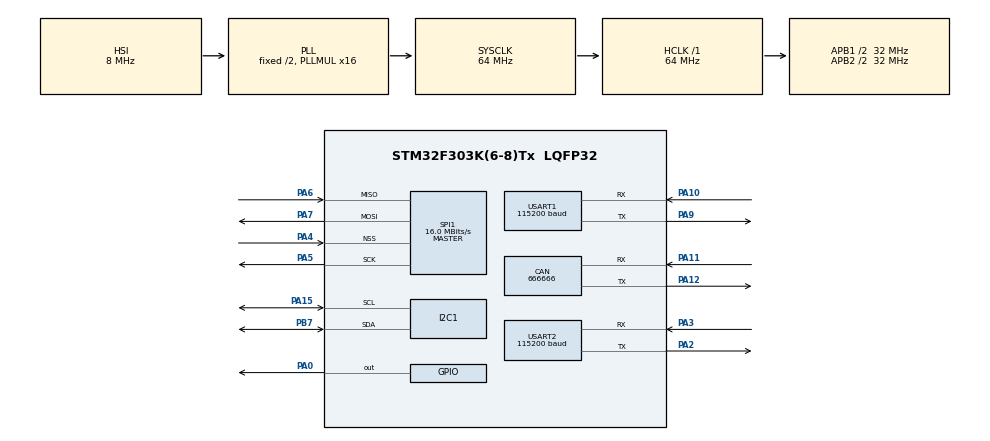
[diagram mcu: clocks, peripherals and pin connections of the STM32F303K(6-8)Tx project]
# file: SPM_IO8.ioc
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CAN.CalculateBaudRate=666666
CAN.CalculateTimeBit=1500
CAN.CalculateTimeQuantum=500.0
I2C1.Timing=0x00201D2B
Mcu.Family=STM32F3
Mcu.Name=STM32F303K(6-8)Tx
Mcu.Package=LQFP32
NVIC.PriorityGroup=NVIC_PRIORITYGROUP_4
NVIC.USART1_IRQn=true\:15\:0\:true\:false\:true\:true\:true\:true
NVIC.USART2_IRQn=true\:15\:0\:true\:false\:true\:true\:true\:true
PA0.Signal=GPIO_Output
PA10.Mode=Asynchronous
PA10.Signal=USART1_RX
PA11.Mode=CAN_Activate
PA11.Signal=CAN_RX
PA12.Mode=CAN_Activate
PA12.Signal=CAN_TX
PA13.Mode=Trace_Asynchronous_SW
PA13.Signal=SYS_JTMS-SWDIO
PA14.Mode=Trace_Asynchronous_SW
PA14.Signal=SYS_JTCK-SWCLK
PA15.Mode=I2C
PA15.Signal=I2C1_SCL
PA2.Mode=Asynchronous
PA2.Signal=USART2_TX
PA3.Mode=Asynchronous
PA3.Signal=USART2_RX
PA4.Mode=NSS_Signal_Hard_Input
PA4.Signal=SPI1_NSS
PA5.Mode=Full_Duplex_Master
PA5.Signal=SPI1_SCK
PA6.Mode=Full_Duplex_Master
PA6.Signal=SPI1_MISO
PA7.Mode=Full_Duplex_Master
PA7.Signal=SPI1_MOSI
PA9.Mode=Asynchronous
PA9.Signal=USART1_TX
PB3.Mode=Trace_Asynchronous_SW
PB3.Signal=SYS_JTDO-TRACESWO
PB7.Mode=I2C
PB7.Signal=I2C1_SDA
ProjectManager.HeapSize=0x200
ProjectManager.StackSize=0x400
ProjectManager.TargetToolchain=STM32CubeIDE
RCC.AHBFreq_Value=64000000
RCC.APB1CLKDivider=RCC_HCLK_DIV2
RCC.APB1Freq_Value=32000000
RCC.APB1TimFreq_Value=64000000
RCC.APB2CLKDivider=RCC_HCLK_DIV2
RCC.APB2Freq_Value=32000000
RCC.APB2TimFreq_Value=64000000
RCC.CortexFreq_Value=64000000
RCC.HCLKFreq_Value=64000000
RCC.HSE_VALUE=8000000
RCC.HSI_VALUE=8000000
RCC.PLLMUL=RCC_PLL_MUL16
RCC.SYSCLKFreq_VALUE=64000000
RCC.SYSCLKSourceVirtual=RCC_SYSCLKSOURCE_PLLCLK
SPI1.CalculateBaudRate=16.0 MBits/s
SPI1.Direction=SPI_DIRECTION_2LINES
SPI1.Mode=SPI_MODE_MASTER
SPI1.VirtualNSS=VM_NSSHARD
SPI1.VirtualType=VM_MASTER
USART1.BaudRate=115200
USART1.VirtualMode-Asynchronous=VM_ASYNC
USART2.BaudRate=115200
USART2.VirtualMode-Asynchronous=VM_ASYNC
board=custom

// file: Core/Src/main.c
/* USER CODE BEGIN Header */
/**
  ******************************************************************************
  * @file           : main.c
  * @brief          : Main program body
  ******************************************************************************
  * @attention
  *
  * Copyright (c) 2025 STMicroelectronics.
  * All rights reserved.
  *
  * This software is licensed under terms that can be found in the LICENSE file
  * in the root directory of this software component.
  * If no LICENSE file comes with this software, it is provided AS-IS.
  *
  ******************************************************************************
  */
/* USER CODE END Header */
#include "main.h"

/* USER CODE BEGIN Includes */
#include "stdio.h"
#include "mcp23017.h"
#include <SPM_Modbus.h>
/* USER CODE END Includes */

CAN_HandleTypeDef hcan;

I2C_HandleTypeDef hi2c1;

SPI_HandleTypeDef hspi1;

UART_HandleTypeDef huart1;
UART_HandleTypeDef huart2;

/* USER CODE BEGIN PV */
//デバイス定義
int16_t model_no = 50;
int16_t version = 1;
int16_t sub_version = 0;

//シリアルデータ
uint8_t recv_data;
uint8_t rx_buf[50];
int rx_len=0;

//CANデータ
uint32_t can_id;
uint32_t can_dlc;
uint8_t can_data[8];

//アプリケーション変数
int16_t dev_id=1;
int16_t io_mode=0; //0通常動作　1:セーフティ動作
//通常動作時の入出力
int16_t io_in=0;
int16_t io_out=0;
//セーフティモード時の入出力
int16_t io_in_fillter = 0xff;	//入力のフィルター ビットが1のもののみセーフティが有効
int16_t io_norm_in=0x00;		//正常時の入力状態。これと異なる場合に異常と判定
int16_t io_norm_out=0x00;		//正常時の出力
int16_t io_anom_out=0xff;		//異常時の出力
int16_t io_state=0;				//0正常　1:異常
/* USER CODE END PV */

void SystemClock_Config(void);
static void MX_GPIO_Init(void);
static void MX_CAN_Init(void);
static void MX_I2C1_Init(void);
static void MX_SPI1_Init(void);
static void MX_USART1_UART_Init(void);
static void MX_USART2_UART_Init(void);

int main(void)
{

  /* MCU Configuration--------------------------------------------------------*/

  /* Reset of all peripherals, Initializes the Flash interface and the Systick. */
  HAL_Init();

  /* Configure the system clock */
  SystemClock_Config();

  /* Initialize all configured peripherals */
  MX_GPIO_Init();
  MX_CAN_Init();
  MX_I2C1_Init();
  MX_SPI1_Init();
  MX_USART1_UART_Init();
  MX_USART2_UART_Init();
  /* USER CODE BEGIN 2 */
  //IOexpander intialize
  MCP23017_HandleTypeDef hmcp;
  mcp23017_init(&hmcp, &hi2c1, MCP23017_ADDRESS_20);
  mcp23017_iodir(&hmcp, MCP23017_PORTA, MCP23017_IODIR_ALL_INPUT);
  mcp23017_iodir(&hmcp, MCP23017_PORTB, MCP23017_IODIR_ALL_OUTPUT);

  //CAN initialize
  HAL_CAN_Start(&hcan);
  HAL_CAN_ActivateNotification(&hcan, CAN_IT_RX_FIFO0_MSG_PENDING);
  CAN_FilterTypeDef filter;
  filter.FilterIdHigh         = 0;                        //
  filter.FilterIdLow          = 0;                        //
  filter.FilterMaskIdHigh     = 0;                        //
  filter.FilterMaskIdLow      = 0;                        //
  filter.FilterScale          = CAN_FILTERSCALE_32BIT;    //
  filter.FilterFIFOAssignment = CAN_FILTER_FIFO0;         //
  filter.FilterBank           = 0;                        //
  filter.FilterMode           = CAN_FILTERMODE_IDMASK;    //
  filter.SlaveStartFilterBank = 14;                       //
  filter.FilterActivation     = ENABLE;                   //
  HAL_CAN_ConfigFilter(&hcan, &filter);

  //各レジスタ初期化
  SPM_ModbusInit();

  //レジスタ登録
  p_input_regs[0] = &model_no;   //モデルナンバー
  p_input_regs[1] = &version; //バージョン
  p_input_regs[2] = &sub_version; //サブバージョン
  p_input_regs[3] = &io_in; //サブバージョン
  p_input_regs[4] = &io_out; //サブバージョン
  p_input_regs[5] = &io_mode;
  p_input_regs[6] = &io_in_fillter;
  p_input_regs[7] = &io_norm_in;
  p_input_regs[8] = &io_norm_out;
  p_input_regs[9] = &io_anom_out;
  p_input_regs[10] = &io_state;

  p_holding_regs[0] = &dev_id;
  p_holding_regs[1] = &io_in;
  p_holding_regs[2] = &io_out;
  p_holding_regs[3] = &io_mode;
  p_holding_regs[4] = &io_in_fillter;
  p_holding_regs[5] = &io_norm_in;
  p_holding_regs[6] = &io_norm_out;
  p_holding_regs[7] = &io_anom_out;
  p_holding_regs[8] = &io_state;

  //Cyclic Function登録
  cycfunc0.rx_len = 2;
  cycfunc0.rx_adr[0] = &io_in;
  cycfunc0.rx_adr[1] = &io_out;
  cycfunc0.tx_len = 1;
  cycfunc0.tx_adr[0] = &io_out;

  ParamLoad();
  io_out=0;
  io_state=0;
  SPM_ModbusSetAddress(dev_id);

  //uart2 interrupt
  HAL_UART_Receive_IT(&huart1, &recv_data, 1);
  /* USER CODE END 2 */

  /* Infinite loop */
  /* USER CODE BEGIN WHILE */
  while (1)
  {
		//IO動作
	  	mcp23017_read_gpio(&hmcp, MCP23017_PORTA);	//入力を読み取り
  	    io_in = hmcp.gpio[MCP23017_PORTA];	//入力を取得
	    if(io_mode == 0){
	    	//通常動作時
	    	hmcp.gpio[MCP23017_PORTB] = (uint8_t)io_out;	//書き込み
	    }else{
	    	//セーフティモード時
	    	uint8_t io_in_fix = io_in & (uint8_t)io_in_fillter;	//入力のフィルタ
	    	if(io_in_fix != io_norm_in) io_state = 1;	//入力を判定
	    	if( io_state == 0){
	    		//正常時の出力
	    		io_out = io_norm_out;
	    	}else{
	    		//異常時の出力
	    		io_out = io_anom_out;
	    	}
	    	hmcp.gpio[MCP23017_PORTB] = (uint8_t)io_out;	//書き込み
	    }
	    mcp23017_write_gpio(&hmcp, MCP23017_PORTB);	//出力の書き込み

		  if(rx_len>0){
			  //HAL_GPIO_WritePin(GPIOA, GPIO_PIN_5, 1);
			  HAL_Delay(10);
			  uint8_t tx_buf[50];
			  int tx_len = SPM_ModbusTask(rx_buf, rx_len, tx_buf);
			  HAL_UART_Transmit(&huart1, tx_buf, tx_len, 100);
			  rx_len=0;
			  //HAL_GPIO_WritePin(GPIOA, GPIO_PIN_5, 0);
		  }

		/*if(timer_1s==0){
			CAN_TxHeaderTypeDef TxHeader;
			uint32_t TxMailbox;
			uint8_t TxData[8];
			if(0 < HAL_CAN_GetTxMailboxesFreeLevel(&hcan)){
				  TxHeader.StdId = 0x555;                 // CAN ID
				  TxHeader.RTR = CAN_RTR_DATA;            //
				  TxHeader.IDE = CAN_ID_STD;              //
				  TxHeader.DLC = 8;                       //
				  TxHeader.TransmitGlobalTime = DISABLE;  //
				  TxData[0] = 'H';
				  TxData[1] = 'E';
				  TxData[2] = 'L';
				  TxData[3] = 'L';
				  TxData[4] = 'O';
				  TxData[5] = '!';
				  TxData[6] = '!';
				  TxData[7] = '!';
				  HAL_CAN_AddTxMessage(&hcan, &TxHeader, TxData, &TxMailbox);
			}

		    int8_t buf[50];
		    int16_t l = sprintf(buf,"PA=%d, PB=%d\r\n",
		    				hmcp.gpio[MCP23017_PORTA],
							hmcp.gpio[MCP23017_PORTB]);
		    HAL_UART_Transmit( &huart1, buf, l, 0xFFFF);
		}*/
		HAL_Delay(1);
    /* USER CODE END WHILE */

  }
}

void SystemClock_Config(void)
{
  RCC_OscInitTypeDef RCC_OscInitStruct = {0};
  RCC_ClkInitTypeDef RCC_ClkInitStruct = {0};
  RCC_PeriphCLKInitTypeDef PeriphClkInit = {0};

  /** Initializes the RCC Oscillators according to the specified parameters
  * in the RCC_OscInitTypeDef structure.
  */
  RCC_OscInitStruct.OscillatorType = RCC_OSCILLATORTYPE_HSI;
  RCC_OscInitStruct.HSIState = RCC_HSI_ON;
  RCC_OscInitStruct.HSICalibrationValue = RCC_HSICALIBRATION_DEFAULT;
  RCC_OscInitStruct.PLL.PLLState = RCC_PLL_ON;
  RCC_OscInitStruct.PLL.PLLSource = RCC_PLLSOURCE_HSI;
  RCC_OscInitStruct.PLL.PLLMUL = RCC_PLL_MUL16;
  if (HAL_RCC_OscConfig(&RCC_OscInitStruct) != HAL_OK)
  {
    Error_Handler();
  }

  /** Initializes the CPU, AHB and APB buses clocks
  */
  RCC_ClkInitStruct.ClockType = RCC_CLOCKTYPE_HCLK|RCC_CLOCKTYPE_SYSCLK
                              |RCC_CLOCKTYPE_PCLK1|RCC_CLOCKTYPE_PCLK2;
  RCC_ClkInitStruct.SYSCLKSource = RCC_SYSCLKSOURCE_PLLCLK;
  RCC_ClkInitStruct.AHBCLKDivider = RCC_SYSCLK_DIV1;
  RCC_ClkInitStruct.APB1CLKDivider = RCC_HCLK_DIV2;
  RCC_ClkInitStruct.APB2CLKDivider = RCC_HCLK_DIV2;

  if (HAL_RCC_ClockConfig(&RCC_ClkInitStruct, FLASH_LATENCY_2) != HAL_OK)
  {
    Error_Handler();
  }
  PeriphClkInit.PeriphClockSelection = RCC_PERIPHCLK_USART1|RCC_PERIPHCLK_I2C1;
  PeriphClkInit.Usart1ClockSelection = RCC_USART1CLKSOURCE_PCLK1;
  PeriphClkInit.I2c1ClockSelection = RCC_I2C1CLKSOURCE_HSI;
  if (HAL_RCCEx_PeriphCLKConfig(&PeriphClkInit) != HAL_OK)
  {
    Error_Handler();
  }
}

static void MX_CAN_Init(void)
{

  hcan.Instance = CAN;
  hcan.Init.Prescaler = 16;
  hcan.Init.Mode = CAN_MODE_NORMAL;
  hcan.Init.SyncJumpWidth = CAN_SJW_1TQ;
  hcan.Init.TimeSeg1 = CAN_BS1_1TQ;
  hcan.Init.TimeSeg2 = CAN_BS2_1TQ;
  hcan.Init.TimeTriggeredMode = DISABLE;
  hcan.Init.AutoBusOff = DISABLE;
  hcan.Init.AutoWakeUp = DISABLE;
  hcan.Init.AutoRetransmission = DISABLE;
  hcan.Init.ReceiveFifoLocked = DISABLE;
  hcan.Init.TransmitFifoPriority = DISABLE;
  if (HAL_CAN_Init(&hcan) != HAL_OK)
  {
    Error_Handler();
  }

}

static void MX_I2C1_Init(void)
{

  hi2c1.Instance = I2C1;
  hi2c1.Init.Timing = 0x00201D2B;
  hi2c1.Init.OwnAddress1 = 0;
  hi2c1.Init.AddressingMode = I2C_ADDRESSINGMODE_7BIT;
  hi2c1.Init.DualAddressMode = I2C_DUALADDRESS_DISABLE;
  hi2c1.Init.OwnAddress2 = 0;
  hi2c1.Init.OwnAddress2Masks = I2C_OA2_NOMASK;
  hi2c1.Init.GeneralCallMode = I2C_GENERALCALL_DISABLE;
  hi2c1.Init.NoStretchMode = I2C_NOSTRETCH_DISABLE;
  if (HAL_I2C_Init(&hi2c1) != HAL_OK)
  {
    Error_Handler();
  }

  /** Configure Analogue filter
  */
  if (HAL_I2CEx_ConfigAnalogFilter(&hi2c1, I2C_ANALOGFILTER_ENABLE) != HAL_OK)
  {
    Error_Handler();
  }

  /** Configure Digital filter
  */
  if (HAL_I2CEx_ConfigDigitalFilter(&hi2c1, 0) != HAL_OK)
  {
    Error_Handler();
  }

}

static void MX_SPI1_Init(void)
{

  /* SPI1 parameter configuration*/
  hspi1.Instance = SPI1;
  hspi1.Init.Mode = SPI_MODE_MASTER;
  hspi1.Init.Direction = SPI_DIRECTION_2LINES;
  hspi1.Init.DataSize = SPI_DATASIZE_4BIT;
  hspi1.Init.CLKPolarity = SPI_POLARITY_LOW;
  hspi1.Init.CLKPhase = SPI_PHASE_1EDGE;
  hspi1.Init.NSS = SPI_NSS_HARD_INPUT;
  hspi1.Init.BaudRatePrescaler = SPI_BAUDRATEPRESCALER_2;
  hspi1.Init.FirstBit = SPI_FIRSTBIT_MSB;
  hspi1.Init.TIMode = SPI_TIMODE_DISABLE;
  hspi1.Init.CRCCalculation = SPI_CRCCALCULATION_DISABLE;
  hspi1.Init.CRCPolynomial = 7;
  hspi1.Init.CRCLength = SPI_CRC_LENGTH_DATASIZE;
  hspi1.Init.NSSPMode = SPI_NSS_PULSE_ENABLE;
  if (HAL_SPI_Init(&hspi1) != HAL_OK)
  {
    Error_Handler();
  }

}

static void MX_USART1_UART_Init(void)
{

  huart1.Instance = USART1;
  huart1.Init.BaudRate = 115200;
  huart1.Init.WordLength = UART_WORDLENGTH_8B;
  huart1.Init.StopBits = UART_STOPBITS_1;
  huart1.Init.Parity = UART_PARITY_NONE;
  huart1.Init.Mode = UART_MODE_TX_RX;
  huart1.Init.HwFlowCtl = UART_HWCONTROL_NONE;
  huart1.Init.OverSampling = UART_OVERSAMPLING_16;
  huart1.Init.OneBitSampling = UART_ONE_BIT_SAMPLE_DISABLE;
  huart1.AdvancedInit.AdvFeatureInit = UART_ADVFEATURE_NO_INIT;
  if (HAL_UART_Init(&huart1) != HAL_OK)
  {
    Error_Handler();
  }

}

static void MX_USART2_UART_Init(void)
{

  huart2.Instance = USART2;
  huart2.Init.BaudRate = 115200;
  huart2.Init.WordLength = UART_WORDLENGTH_8B;
  huart2.Init.StopBits = UART_STOPBITS_1;
  huart2.Init.Parity = UART_PARITY_NONE;
  huart2.Init.Mode = UART_MODE_TX_RX;
  huart2.Init.HwFlowCtl = UART_HWCONTROL_NONE;
  huart2.Init.OverSampling = UART_OVERSAMPLING_16;
  huart2.Init.OneBitSampling = UART_ONE_BIT_SAMPLE_DISABLE;
  huart2.AdvancedInit.AdvFeatureInit = UART_ADVFEATURE_NO_INIT;
  if (HAL_UART_Init(&huart2) != HAL_OK)
  {
    Error_Handler();
  }

}

static void MX_GPIO_Init(void)
{
  GPIO_InitTypeDef GPIO_InitStruct = {0};

  /* GPIO Ports Clock Enable */
  __HAL_RCC_GPIOA_CLK_ENABLE();
  __HAL_RCC_GPIOB_CLK_ENABLE();

  /*Configure GPIO pin Output Level */
  HAL_GPIO_WritePin(GPIOA, GPIO_PIN_0, GPIO_PIN_RESET);

  /*Configure GPIO pin : PA0 */
  GPIO_InitStruct.Pin = GPIO_PIN_0;
  GPIO_InitStruct.Mode = GPIO_MODE_OUTPUT_PP;
  GPIO_InitStruct.Pull = GPIO_NOPULL;
  GPIO_InitStruct.Speed = GPIO_SPEED_FREQ_LOW;
  HAL_GPIO_Init(GPIOA, &GPIO_InitStruct);

}

/* USER CODE BEGIN 4 */
void HAL_CAN_RxFifo0MsgPendingCallback(CAN_HandleTypeDef *hcan)
{
    CAN_RxHeaderTypeDef RxHeader;
    uint8_t RxData[8];
    if (HAL_CAN_GetRxMessage(hcan, CAN_RX_FIFO0, &RxHeader, RxData) == HAL_OK)
    {
        can_id = (RxHeader.IDE == CAN_ID_STD)? RxHeader.StdId : RxHeader.ExtId;     // ID
        can_dlc = RxHeader.DLC;                                                     // DLC
        can_data[0] = RxData[0];                                                    // Data
        can_data[1] = RxData[1];
        can_data[2] = RxData[2];
        can_data[3] = RxData[3];
        can_data[4] = RxData[4];
        can_data[5] = RxData[5];
        can_data[6] = RxData[6];
        can_data[7] = RxData[7];
    }
    int8_t buf[50];
    int16_t l = sprintf(buf,"ID=%d, %s\r\n",can_id, can_data);
    HAL_UART_Transmit( &huart1, buf, l, 0xFFFF);
}

void HAL_UART_RxCpltCallback(UART_HandleTypeDef *huart)
{
   if (huart->Instance == USART1)
   {
	   rx_buf[rx_len] = recv_data;
	   rx_len++;
       HAL_UART_Receive_IT(&huart1, &recv_data, 1);
   }
}
/* USER CODE END 4 */

void Error_Handler(void)
{
  __disable_irq();
  while (1)
  {
  }
}
